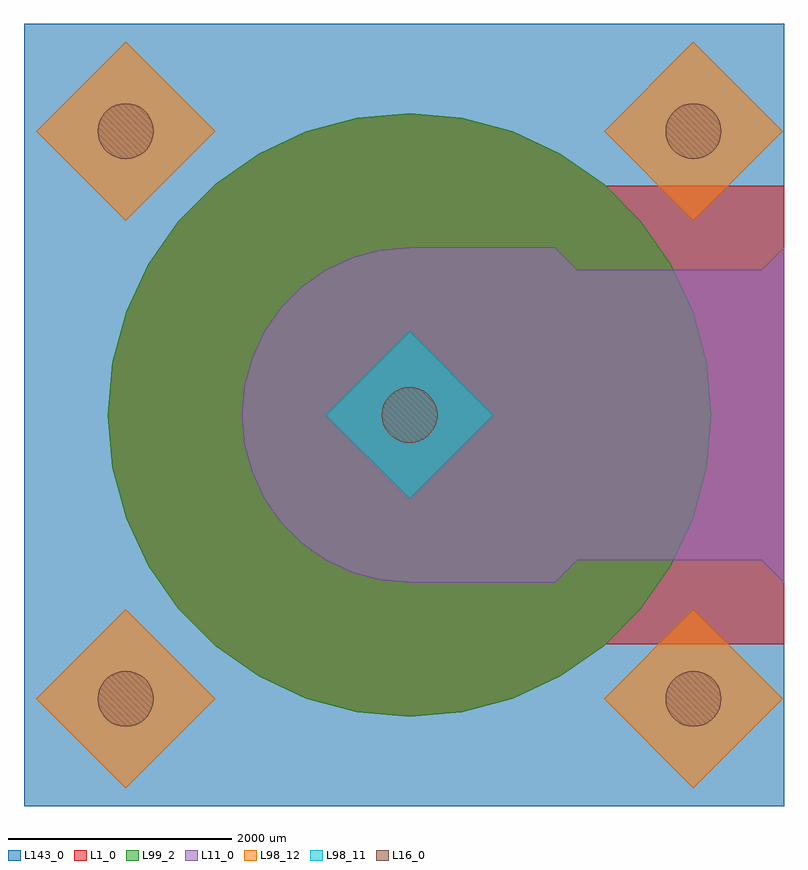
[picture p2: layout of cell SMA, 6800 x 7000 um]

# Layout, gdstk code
import gdstk
lib = gdstk.Library(unit=1e-6, precision=1e-09)
def R(c, l, rs):  # rectangles x0, y0, x1, y1
    for r in rs: c.add(gdstk.rectangle(r[:2], r[2:], *l))
def P(c, l, *ps):  # polygons
    for p in ps: c.add(gdstk.Polygon(p, *l))
L1_0 = (1, 0)
L11_0 = (11, 0)
L16_0 = (16, 0)
L98_11 = (98, 11)
L98_12 = (98, 12)
L99_2 = (99, 2)
L143_0 = (143, 0)

sma = lib.new_cell('SMA')
R(sma, L1_0, [(0,-2050,3350,2050)])
P(sma, L1_0, [(2700,0),(2658.981,-468.85),(2537.17,-923.454),(2338.269,-1350),(2068.32,-1735.527),(1735.527,-2068.32),(1350,-2338.269),(923.454,-2537.17),(468.85,-2658.981),(0,-2700),(-468.85,-2658.981),(-923.454,-2537.17),(-1350,-2338.269),(-1735.527,-2068.32),(-2068.32,-1735.527),(-2338.269,-1350),(-2537.17,-923.454),(-2658.981,-468.85),(-2700,0),(-2658.981,468.85),(-2537.17,923.454),(-2338.269,1350),(-2068.32,1735.527),(-1735.527,2068.32),(-1350,2338.269),(-923.454,2537.17),(-468.85,2658.981),(0,2700),(468.85,2658.981),(923.454,2537.17),(1350,2338.269),(1735.527,2068.32),(2068.32,1735.527),(2338.269,1350),(2537.17,923.454),(2658.981,468.85)])
P(sma, L11_0, [(0,1500),(1300,1500),(1500,1300),(3150,1300),(3350,1500),(3350,-1500),(3150,-1300),(1500,-1300),(1300,-1500),(0,-1500)],
  [(1500,0),(1477.212,-260.472),(1409.539,-513.03),(1299.038,-750),(1149.067,-964.181),(964.181,-1149.067),(750,-1299.038),(513.03,-1409.539),(260.472,-1477.212),(0,-1500),(-260.472,-1477.212),(-513.03,-1409.539),(-750,-1299.038),(-964.181,-1149.067),(-1149.067,-964.181),(-1299.038,-750),(-1409.539,-513.03),(-1477.212,-260.472),(-1500,0),(-1477.212,260.472),(-1409.539,513.03),(-1299.038,750),(-1149.067,964.181),(-964.181,1149.067),(-750,1299.038),(-513.03,1409.539),(-260.472,1477.212),(0,1500),(260.472,1477.212),(513.03,1409.539),(750,1299.038),(964.181,1149.067),(1149.067,964.181),(1299.038,750),(1409.539,513.03),(1477.212,260.472)])
P(sma, L16_0, [(-2290,-2540),(-2293.798,-2583.412),(-2305.077,-2625.505),(-2323.494,-2665),(-2348.489,-2700.697),(-2379.303,-2731.511),(-2415,-2756.506),(-2454.495,-2774.923),(-2496.588,-2786.202),(-2540,-2790),(-2583.412,-2786.202),(-2625.505,-2774.923),(-2665,-2756.506),(-2700.697,-2731.511),(-2731.511,-2700.697),(-2756.506,-2665),(-2774.923,-2625.505),(-2786.202,-2583.412),(-2790,-2540),(-2786.202,-2496.588),(-2774.923,-2454.495),(-2756.506,-2415),(-2731.511,-2379.303),(-2700.697,-2348.489),(-2665,-2323.494),(-2625.505,-2305.077),(-2583.412,-2293.798),(-2540,-2290),(-2496.588,-2293.798),(-2454.495,-2305.077),(-2415,-2323.494),(-2379.303,-2348.489),(-2348.489,-2379.303),(-2323.494,-2415),(-2305.077,-2454.495),(-2293.798,-2496.588)],
  [(-2290,2540),(-2293.798,2496.588),(-2305.077,2454.495),(-2323.494,2415),(-2348.489,2379.303),(-2379.303,2348.489),(-2415,2323.494),(-2454.495,2305.077),(-2496.588,2293.798),(-2540,2290),(-2583.412,2293.798),(-2625.505,2305.077),(-2665,2323.494),(-2700.697,2348.489),(-2731.511,2379.303),(-2756.506,2415),(-2774.923,2454.495),(-2786.202,2496.588),(-2790,2540),(-2786.202,2583.412),(-2774.923,2625.505),(-2756.506,2665),(-2731.511,2700.697),(-2700.697,2731.511),(-2665,2756.506),(-2625.505,2774.923),(-2583.412,2786.202),(-2540,2790),(-2496.588,2786.202),(-2454.495,2774.923),(-2415,2756.506),(-2379.303,2731.511),(-2348.489,2700.697),(-2323.494,2665),(-2305.077,2625.505),(-2293.798,2583.412)],
  [(2790,-2540),(2786.202,-2583.412),(2774.923,-2625.505),(2756.506,-2665),(2731.511,-2700.697),(2700.697,-2731.511),(2665,-2756.506),(2625.505,-2774.923),(2583.412,-2786.202),(2540,-2790),(2496.588,-2786.202),(2454.495,-2774.923),(2415,-2756.506),(2379.303,-2731.511),(2348.489,-2700.697),(2323.494,-2665),(2305.077,-2625.505),(2293.798,-2583.412),(2290,-2540),(2293.798,-2496.588),(2305.077,-2454.495),(2323.494,-2415),(2348.489,-2379.303),(2379.303,-2348.489),(2415,-2323.494),(2454.495,-2305.077),(2496.588,-2293.798),(2540,-2290),(2583.412,-2293.798),(2625.505,-2305.077),(2665,-2323.494),(2700.697,-2348.489),(2731.511,-2379.303),(2756.506,-2415),(2774.923,-2454.495),(2786.202,-2496.588)],
  [(2790,2540),(2786.202,2496.588),(2774.923,2454.495),(2756.506,2415),(2731.511,2379.303),(2700.697,2348.489),(2665,2323.494),(2625.505,2305.077),(2583.412,2293.798),(2540,2290),(2496.588,2293.798),(2454.495,2305.077),(2415,2323.494),(2379.303,2348.489),(2348.489,2379.303),(2323.494,2415),(2305.077,2454.495),(2293.798,2496.588),(2290,2540),(2293.798,2583.412),(2305.077,2625.505),(2323.494,2665),(2348.489,2700.697),(2379.303,2731.511),(2415,2756.506),(2454.495,2774.923),(2496.588,2786.202),(2540,2790),(2583.412,2786.202),(2625.505,2774.923),(2665,2756.506),(2700.697,2731.511),(2731.511,2700.697),(2756.506,2665),(2774.923,2625.505),(2786.202,2583.412)],
  [(250,0),(246.202,-43.412),(234.923,-85.505),(216.506,-125),(191.511,-160.697),(160.697,-191.511),(125,-216.506),(85.505,-234.923),(43.412,-246.202),(0,-250),(-43.412,-246.202),(-85.505,-234.923),(-125,-216.506),(-160.697,-191.511),(-191.511,-160.697),(-216.506,-125),(-234.923,-85.505),(-246.202,-43.412),(-250,0),(-246.202,43.412),(-234.923,85.505),(-216.506,125),(-191.511,160.697),(-160.697,191.511),(-125,216.506),(-85.505,234.923),(-43.412,246.202),(0,250),(43.412,246.202),(85.505,234.923),(125,216.506),(160.697,191.511),(191.511,160.697),(216.506,125),(234.923,85.505),(246.202,43.412)])
P(sma, L98_11, [(-750,0),(0,-750),(750,0),(0,750)])
P(sma, L98_12, [(1740,2540),(2540,1740),(3340,2540),(2540,3340)],
  [(-3340,2540),(-2540,1740),(-1740,2540),(-2540,3340)],
  [(1740,-2540),(2540,-3340),(3340,-2540),(2540,-1740)],
  [(-3340,-2540),(-2540,-3340),(-1740,-2540),(-2540,-1740)])
P(sma, L99_2, [(2700,0),(2658.981,-468.85),(2537.17,-923.454),(2338.269,-1350),(2068.32,-1735.527),(1735.527,-2068.32),(1350,-2338.269),(923.454,-2537.17),(468.85,-2658.981),(0,-2700),(-468.85,-2658.981),(-923.454,-2537.17),(-1350,-2338.269),(-1735.527,-2068.32),(-2068.32,-1735.527),(-2338.269,-1350),(-2537.17,-923.454),(-2658.981,-468.85),(-2700,0),(-2658.981,468.85),(-2537.17,923.454),(-2338.269,1350),(-2068.32,1735.527),(-1735.527,2068.32),(-1350,2338.269),(-923.454,2537.17),(-468.85,2658.981),(0,2700),(468.85,2658.981),(923.454,2537.17),(1350,2338.269),(1735.527,2068.32),(2068.32,1735.527),(2338.269,1350),(2537.17,923.454),(2658.981,468.85)])
R(sma, L143_0, [(-3450,-3500,3350,3500), (1700,-3450,3350,-2050), (1700,2050,3350,3450)])
sma.add(gdstk.FlexPath([(3350,1500),(3350,-1500)], 0, ends="round", simple_path=True, layer=11, datatype=0))  # L11_0

lib.write_gds('SMA.gds')
